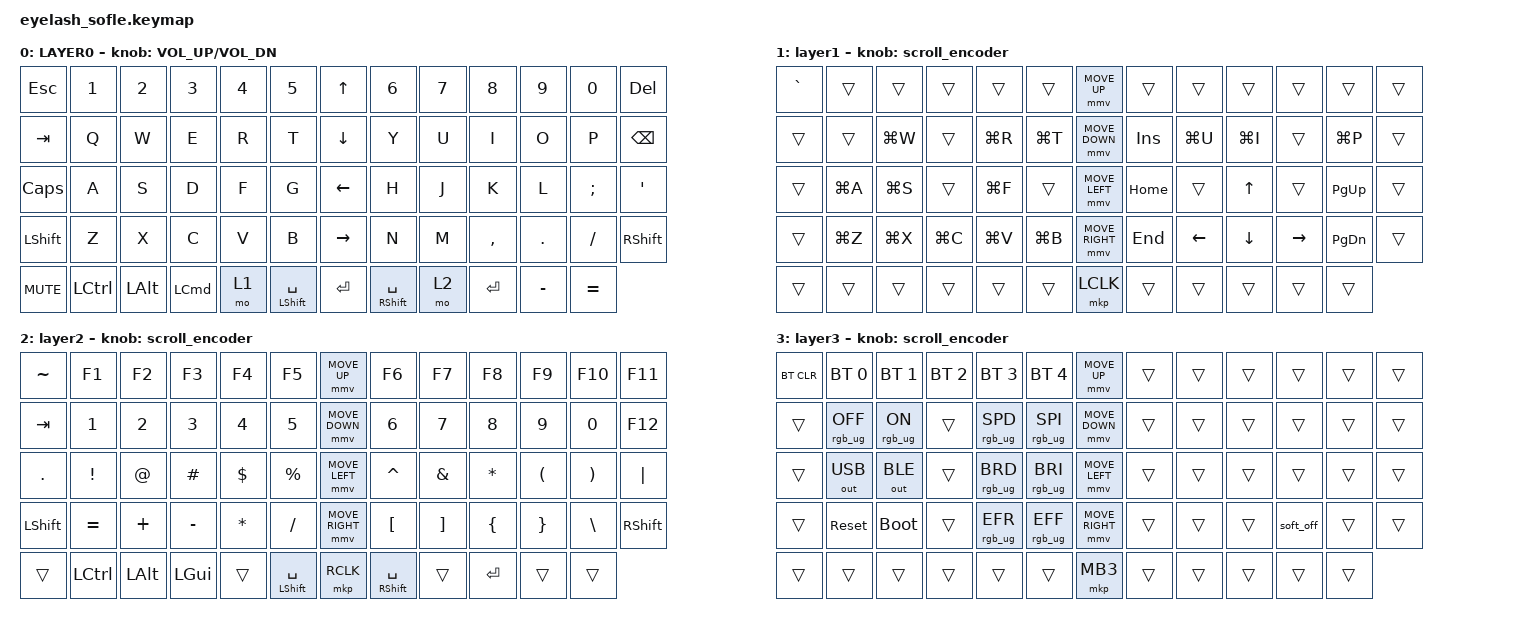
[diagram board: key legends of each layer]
#define ZMK_POINTING_DEFAULT_MOVE_VAL 1200  // 600
#define ZMK_POINTING_DEFAULT_SCRL_VAL 25   // 10

#include <input/processors.dtsi>
#include <zephyr/dt-bindings/input/input-event-codes.h>
#include <behaviors.dtsi>
#include <dt-bindings/zmk/bt.h>
#include <dt-bindings/zmk/keys.h>
#include <dt-bindings/zmk/outputs.h>
#include <dt-bindings/zmk/pointing.h>
#include <dt-bindings/zmk/rgb.h>

&mmv_input_listener { input-processors = <&zip_xy_scaler 2 1>; };

&msc_input_listener { input-processors = <&zip_scroll_scaler 2 1>; };

&msc {
    acceleration-exponent = <1>;      // 0
    time-to-max-speed-ms = <100>;       // 300
    delay-ms = <0>;                   // 0
};

&mmv {
    time-to-max-speed-ms = <500>;
    acceleration-exponent = <1>;
    trigger-period-ms = <16>;
};

&soft_off { hold-time-ms = <2000>; };

/ {
    scroll_encoder: scroll_encoder {
        compatible = "zmk,behavior-sensor-rotate";
        #sensor-binding-cells = <0>;
        bindings = <&msc SCRL_DOWN>, <&msc SCRL_UP>;

        tap-ms = <100>;
    };

    behaviors {
    };

    combos { compatible = "zmk,combos"; };

    keymap {
        compatible = "zmk,keymap";

        layer0 {
            bindings = <
&kp ESC     &kp N1     &kp N2        &kp N3    &kp N4  &kp N5              &kp UP_ARROW     &kp N6            &kp N7  &kp N8     &kp N9     &kp N0     &kp DELETE
&kp TAB     &kp Q      &kp W         &kp E     &kp R   &kp T               &kp DOWN_ARROW   &kp Y             &kp U   &kp I      &kp O      &kp P      &kp BACKSPACE
&kp CAPS    &kp A      &kp S         &kp D     &kp F   &kp G               &kp LEFT_ARROW   &kp H             &kp J   &kp K      &kp L      &kp SEMI   &kp APOS
&kp LSHFT   &kp Z      &kp X         &kp C     &kp V   &kp B               &kp RIGHT_ARROW  &kp N             &kp M   &kp COMMA  &kp DOT    &kp FSLH   &kp RIGHT_SHIFT
&kp C_MUTE  &kp LCTRL  &kp LEFT_ALT  &kp LCMD  &mo 1   &mt LSHIFT SPACE    &kp ENTER        &mt RSHIFT SPACE  &mo 2   &kp ENTER  &kp MINUS  &kp EQUAL
            >;

            sensor-bindings = <&inc_dec_kp C_VOLUME_UP C_VOL_DN>;
            display-name = "LAYER0";
        };

        layer_1 {
            bindings = <
&kp GRAVE  &trans     &trans     &trans     &trans     &trans       &mmv MOVE_UP     &trans    &trans     &trans     &trans     &trans     &trans
&trans     &trans     &kp LG(W)  &trans     &kp LG(R)  &kp LG(T)    &mmv MOVE_DOWN   &kp INS   &kp LG(U)  &kp LG(I)  &trans     &kp LG(P)  &trans
&trans     &kp LG(A)  &kp LG(S)  &trans     &kp LG(F)  &trans       &mmv MOVE_LEFT   &kp HOME  &trans     &kp UP     &trans     &kp PG_UP  &trans
&trans     &kp LG(Z)  &kp LG(X)  &kp LG(C)  &kp LG(V)  &kp LG(B)    &mmv MOVE_RIGHT  &kp END   &kp LEFT   &kp DOWN   &kp RIGHT  &kp PG_DN  &trans
&trans     &trans     &trans     &trans     &trans     &trans       &mkp LCLK        &trans    &trans     &trans     &trans     &trans
            >;

            display-name = "layer1";
            sensor-bindings = <&scroll_encoder>;
        };

        layer_2 {
            bindings = <
&kp TILDE   &kp F1           &kp F2       &kp F3     &kp F4        &kp F5              &mmv MOVE_UP     &kp F6            &kp F7         &kp F8          &kp F9                &kp F10                &kp F11
&kp TAB     &kp N1           &kp N2       &kp N3     &kp N4        &kp N5              &mmv MOVE_DOWN   &kp N6            &kp N7         &kp N8          &kp N9                &kp N0                 &kp F12
&kp PERIOD  &kp EXCLAMATION  &kp AT_SIGN  &kp POUND  &kp DOLLAR    &kp PERCENT         &mmv MOVE_LEFT   &kp CARET         &kp AMPERSAND  &kp ASTERISK    &kp LEFT_PARENTHESIS  &kp RIGHT_PARENTHESIS  &kp PIPE
&kp LSHFT   &kp EQUAL        &kp PLUS     &kp MINUS  &kp ASTERISK  &kp SLASH           &mmv MOVE_RIGHT  &kp LBKT          &kp RBKT       &kp LEFT_BRACE  &kp RIGHT_BRACE       &kp BSLH               &kp RSHFT
&trans      &kp LCTRL        &kp LALT     &kp LGUI   &trans        &mt LSHIFT SPACE    &mkp RCLK        &mt RSHIFT SPACE  &trans         &kp ENTER       &trans                &trans
            >;

            display-name = "layer2";
            sensor-bindings = <&scroll_encoder>;
        };

        layer_3 {
            bindings = <
&bt BT_CLR  &bt BT_SEL 0     &bt BT_SEL 1    &bt BT_SEL 2  &bt BT_SEL 3     &bt BT_SEL 4       &mmv MOVE_UP     &trans  &trans  &trans  &trans     &trans  &trans
&trans      &rgb_ug RGB_OFF  &rgb_ug RGB_ON  &trans        &rgb_ug RGB_SPD  &rgb_ug RGB_SPI    &mmv MOVE_DOWN   &trans  &trans  &trans  &trans     &trans  &trans
&trans      &out OUT_USB     &out OUT_BLE    &trans        &rgb_ug RGB_BRD  &rgb_ug RGB_BRI    &mmv MOVE_LEFT   &trans  &trans  &trans  &trans     &trans  &trans
&trans      &sys_reset       &bootloader     &trans        &rgb_ug RGB_EFR  &rgb_ug RGB_EFF    &mmv MOVE_RIGHT  &trans  &trans  &trans  &soft_off  &trans  &trans
&trans      &trans           &trans          &trans        &trans           &trans             &mkp MB3         &trans  &trans  &trans  &trans     &trans
            >;

            display-name = "layer3";
            sensor-bindings = <&scroll_encoder>;
        };
    };

    conditional_layers {
        compatible = "zmk,conditional-layers";

        layer_3 {
            if-layers = <1 2>;
            then-layer = <3>;
        };
    };
};
